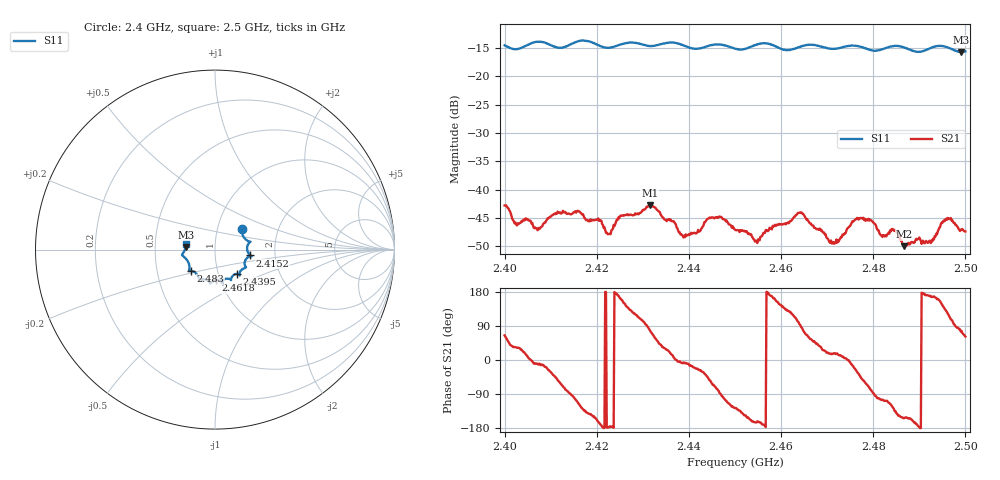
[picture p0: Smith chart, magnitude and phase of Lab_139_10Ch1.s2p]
# Hz S RI R 50
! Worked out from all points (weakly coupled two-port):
!   601 points, 2.4 GHz to 2.5 GHz, reference 50 ohm
!   highest |S21| = -42.75 dB at 2.4315 GHz (marker M1); lowest = -50.0 dB at 2.4867 GHz (marker M2)
!   lowest |S11| = -15.7 dB at 2.499 GHz (marker M3), VSWR 1.39, Z = 35.9 + j1.13 ohm
!   |S11| at or under -10 dB: start of sweep to end of sweep
!   S12 and S22 are empty: the file has one direction only
!   S11 on the Smith chart (normalised r, x): 2.4 GHz: 1.31, +0.31; 2.4152 GHz: 1.49, -0.10; 2.4395 GHz: 1.23, -0.34; 2.4618 GHz: 0.95, -0.34; 2.483 GHz: 0.74, -0.18; 2.5 GHz: 0.72, +0.05
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2.4e9  0.1502 0.1133  0.00307 0.00655  0 0  0 0
2.407e9  0.1973 0.0444  0.00445 -0.00071  0 0  0 0
2.415167e9  0.1966 -0.0325  -0.00116 -0.00623  0 0  0 0
2.416667e9  0.2039 -0.0378  -0.0036 -0.00495  0 0  0 0
2.4225e9  0.1669 -0.0645  -0.00403 -0.000129  0 0  0 0
2.4315e9  0.1455 -0.1153  0.00147 0.00714  0 0  0 0
2.433333e9  0.1368 -0.1318  0.00438 0.00477  0 0  0 0
2.4395e9  0.1238 -0.1352  0.00386 -0.000656  0 0  0 0
2.444833e9  0.0888 -0.1667  0.0029 -0.00485  0 0  0 0
2.45e9  0.0696 -0.1618  -0.00266 -0.00354  0 0  0 0
2.454833e9  0.0399 -0.1877  -0.00319 -0.00105  0 0  0 0
2.461833e9  0.0041 -0.1711  -0.00312 0.00414  0 0  0 0
2.466667e9  -0.0263 -0.1888  0.00291 0.00385  0 0  0 0
2.471e9  -0.0494 -0.1682  0.0032 0.000944  0 0  0 0
2.477e9  -0.09 -0.1605  0.00426 -0.00363  0 0  0 0
2.483e9  -0.1355 -0.1181  -0.00121 -0.00379  0 0  0 0
2.483333e9  -0.1382 -0.118  -0.00159 -0.00384  0 0  0 0
2.486667e9  -0.1434 -0.1097  -0.00283 -0.00141  0 0  0 0
2.492333e9  -0.1728 -0.0397  -0.00342 0.000627  0 0  0 0
2.496333e9  -0.1781 -0.02  -0.00268 0.00479  0 0  0 0
2.499e9  -0.1635 0.0154  0.00114 0.00427  0 0  0 0
2.5e9  -0.163 0.0332  0.00202 0.00376  0 0  0 0
